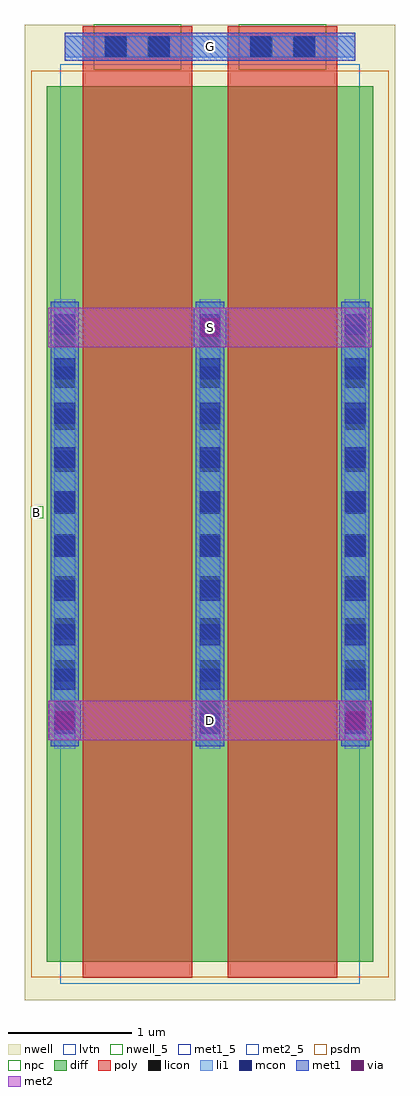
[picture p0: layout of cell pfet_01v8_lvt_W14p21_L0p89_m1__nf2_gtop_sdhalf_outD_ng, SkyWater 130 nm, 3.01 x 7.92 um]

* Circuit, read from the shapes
.subckt pfet_01v8_lvt_W14p21_L0p89_m1__nf2_gtop_sdhalf_outD_ng B D G S
XM1 S G D B sky130_fd_pr__pfet_01v8_lvt w=7.11 l=0.89 m=2
.ends

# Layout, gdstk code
import gdstk
lib = gdstk.Library(unit=1e-6, precision=1e-09)
def R(c, l, rs):  # rectangles x0, y0, x1, y1
    for r in rs: c.add(gdstk.rectangle(r[:2], r[2:], *l))
def A(c, l, x, y, w, h, nx, ny, dx, dy):  # array of equal rectangles
    R(c, l, [(x+i*dx, y+j*dy, x+i*dx+w, y+j*dy+h) for i in range(nx) for j in range(ny)])
nwell_5 = (64, 5)
nwell = (64, 20)
diff = (65, 20)
poly = (66, 20)
licon = (66, 44)
li1 = (67, 20)
mcon = (67, 44)
met1_5 = (68, 5)
met1 = (68, 20)
via = (68, 44)
met2_5 = (69, 5)
met2 = (69, 20)
psdm = (94, 20)
npc = (95, 20)
lvtn = (125, 44)

sky130_fd_pr__pfet_01v8_ = lib.new_cell('sky130_fd_pr__pfet_01v8_lvt_S9Q5TH')
R(sky130_fd_pr__pfet_01v8_, nwell, [(-1.505,-4.045,1.505,3.875)])
R(sky130_fd_pr__pfet_01v8_, diff, [(-1.325,-3.735,1.325,3.375)])
R(sky130_fd_pr__pfet_01v8_, poly, [(-1.035,-3.865,-0.145,3.86), (0.145,-3.865,1.035,3.86)])
A(sky130_fd_pr__pfet_01v8_, licon, -1.265, -1.795, 0.17, 0.17, 3, 10, 1.18, 0.34)
R(sky130_fd_pr__pfet_01v8_, licon, [(-0.845,3.61,-0.675,3.78), (-0.505,3.61,-0.335,3.78), (0.335,3.61,0.505,3.78), (0.675,3.61,0.845,3.78)])
A(sky130_fd_pr__pfet_01v8_, li1, -1.265, -2.005, 0.17, 3.65, 3, 1, 1.18, 0)
R(sky130_fd_pr__pfet_01v8_, li1, [(-1.18,3.61,1.18,3.78)])
A(sky130_fd_pr__pfet_01v8_, mcon, -1.265, -1.885, 0.17, 0.17, 3, 10, 1.18, 0.36)
R(sky130_fd_pr__pfet_01v8_, mcon, [(-0.855,3.61,-0.685,3.78), (-0.495,3.61,-0.325,3.78), (0.325,3.61,0.495,3.78), (0.685,3.61,0.855,3.78)])
A(sky130_fd_pr__pfet_01v8_, met1, -1.295, -1.985, 0.23, 3.61, 3, 1, 1.18, 0)
R(sky130_fd_pr__pfet_01v8_, met1, [(-1.015,3.58,-0.165,3.61), (0.165,3.58,1.015,3.61), (-1.18,3.61,1.18,3.78), (-1.015,3.78,-0.165,3.81), (0.165,3.78,1.015,3.81)])
R(sky130_fd_pr__pfet_01v8_, psdm, [(-1.45,-3.86,1.45,3.5)])
R(sky130_fd_pr__pfet_01v8_, npc, [(-0.945,3.51,-0.235,3.88), (0.235,3.51,0.945,3.88)])
R(sky130_fd_pr__pfet_01v8_, lvtn, [(-1.215,-3.915,1.215,3.555)])
sky130_fd_pr__pfet_01v8_.add(gdstk.Label('D0', (-1.18,-0.18), layer=67, texttype=5))
sky130_fd_pr__pfet_01v8_.add(gdstk.Label('G', (0.59,3.695), layer=67, texttype=5))
sky130_fd_pr__pfet_01v8_.add(gdstk.Label('G', (-0.59,3.695), layer=67, texttype=5))
sky130_fd_pr__pfet_01v8_.add(gdstk.Label('S1', (0,-0.18), layer=67, texttype=5))

pfet_01v8_lvt_w14p21_l0p = lib.new_cell('pfet_01v8_lvt_W14p21_L0p89_m1__nf2_gtop_sdhalf_outD_ng')
R(pfet_01v8_lvt_w14p21_l0p, nwell_5, [(0.05,3.91,0.15,4.01)])
R(pfet_01v8_lvt_w14p21_l0p, nwell, [(0.05,3.91,0.15,4.01)])
R(pfet_01v8_lvt_w14p21_l0p, met1_5, [(0.325,7.625,2.685,7.855)])
R(pfet_01v8_lvt_w14p21_l0p, met1, [(0.195,2.11,0.455,2.43), (2.555,2.11,2.815,2.43), (1.375,5.3,1.635,5.62), (0.325,7.625,2.685,7.855)])
R(pfet_01v8_lvt_w14p21_l0p, via, [(0.25,2.195,0.4,2.345), (2.61,2.195,2.76,2.345), (1.43,5.385,1.58,5.535)])
R(pfet_01v8_lvt_w14p21_l0p, met2_5, [(0.19,2.11,2.82,2.43), (0.19,5.3,2.82,5.62)])
R(pfet_01v8_lvt_w14p21_l0p, met2, [(0.19,2.11,2.82,2.43), (0.19,5.3,2.82,5.62)])
pfet_01v8_lvt_w14p21_l0p.add(gdstk.Reference(sky130_fd_pr__pfet_01v8_, (1.505,4.045)))
pfet_01v8_lvt_w14p21_l0p.add(gdstk.Label('S', (1.505,5.46), layer=69, texttype=5))
pfet_01v8_lvt_w14p21_l0p.add(gdstk.Label('D', (1.505,2.27), layer=69, texttype=5))
pfet_01v8_lvt_w14p21_l0p.add(gdstk.Label('G', (1.505,7.74), layer=68, texttype=5))
pfet_01v8_lvt_w14p21_l0p.add(gdstk.Label('B', (0.1,3.96), layer=64, texttype=5))

lib.write_gds('pfet_01v8_lvt_W14p21_L0p89_m1__nf2_gtop_sdhalf_outD_ng.gds')
